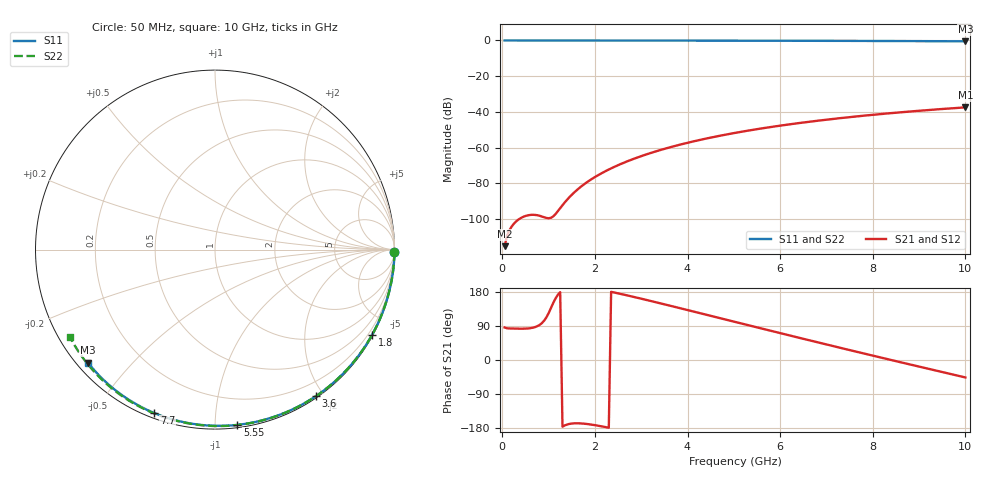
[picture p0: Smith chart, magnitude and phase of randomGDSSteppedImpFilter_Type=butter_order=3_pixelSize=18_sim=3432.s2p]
! freq	dB(S11)	phase(S11)	dB(S12)	phase(S12)
!  dB(S21)	phase(S21)	dB(S22)	phase(S22)
!S-par simulation data
#  GHz  S  DB  R 50
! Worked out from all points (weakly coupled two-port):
!   200 points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, 50 MHz to 10 GHz, reference 50 ohm
!   highest |S21| = -37.50 dB at 10 GHz (marker M1); lowest = -115.3 dB at 50 MHz (marker M2)
!   lowest |S11| = -0.5 dB at 10 GHz (marker M3), VSWR 37.02, Z = 1.55 - j19 ohm
!   |S11| at or under -10 dB: nowhere
!   |S22| runs from -0.5 to 0.0 dB; largest |S21 - S12| = 0
!   S11 on the Smith chart (normalised r, x): 50 MHz: open; 1.8 GHz: 0.03, -3.95; 3.6 GHz: 0.02, -1.90; 5.55 GHz: 0.02, -1.14; 7.7 GHz: 0.02, -0.69; 10 GHz: 0.03, -0.38
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0.05  -0.00 -0.8  -115.27 85.7  -115.27 85.7  -0.00 -0.9
0.45  -0.01 -7.2  -98.85 82.7  -98.85 82.7  -0.01 -7.7
0.9  -0.02 -14.3  -99.04 103.3  -99.04 103.3  -0.02 -15.4
1.3  -0.03 -20.6  -92.31 -176.0  -92.31 -176.0  -0.03 -22.1
1.75  -0.04 -27.6  -80.90 -167.9  -80.90 -167.9  -0.04 -29.6
1.8  -0.04 -28.4  -79.94 -168.5  -79.94 -168.5  -0.04 -30.5
1.95  -0.04 -30.7  -77.34 -170.9  -77.34 -170.9  -0.04 -32.9
2.1  -0.04 -33.0  -75.04 -174.0  -75.04 -174.0  -0.05 -35.4
2.3  -0.05 -36.1  -72.30 -178.8  -72.30 -178.8  -0.05 -38.7
2.5  -0.05 -39.1  -69.89 175.9  -69.89 175.9  -0.05 -41.9
2.9  -0.06 -45.1  -65.74 164.7  -65.74 164.7  -0.06 -48.4
3.4  -0.07 -52.5  -61.49 150.0  -61.49 150.0  -0.07 -56.3
3.6  -0.07 -55.4  -60.01 144.0  -60.01 144.0  -0.08 -59.4
4.3  -0.09 -65.5  -55.55 122.7  -55.55 122.7  -0.10 -70.1
5.05  -0.12 -75.9  -51.68 99.8  -51.68 99.8  -0.13 -81.3
5.55  -0.14 -82.7  -49.49 84.6  -49.49 84.6  -0.15 -88.5
6.1  -0.16 -90.0  -47.37 67.9  -47.37 67.9  -0.17 -96.3
6.7  -0.19 -97.8  -45.33 49.9  -45.33 49.9  -0.20 -104.7
7.7  -0.25 -110.4  -42.43 20.3  -42.43 20.3  -0.27 -118.3
8.35  -0.30 -118.4  -40.83 1.3  -40.83 1.3  -0.33 -126.9
9.2  -0.38 -128.7  -38.99 -23.2  -38.99 -23.2  -0.41 -138.2
10  -0.47 -138.4  -37.50 -46.1  -37.50 -46.1  -0.50 -148.9
